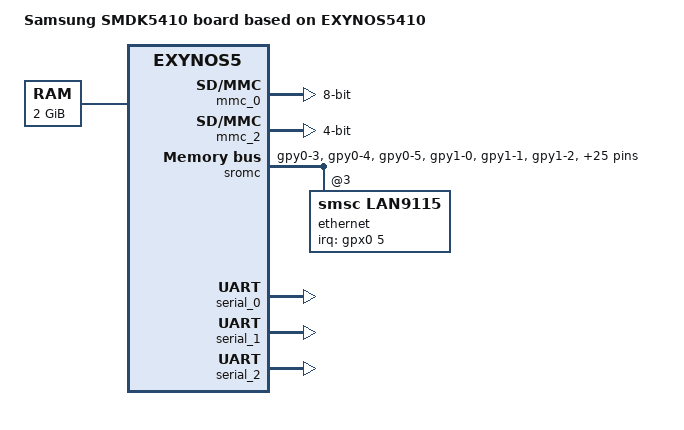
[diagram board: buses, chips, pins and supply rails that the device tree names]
// SPDX-License-Identifier: GPL-2.0
/*
 * SAMSUNG SMDK5410 board device tree source
 *
 * Copyright (c) 2013 Samsung Electronics Co., Ltd.
 *		http://www.samsung.com
 */

/dts-v1/;
#include "exynos5410.dtsi"
#include <dt-bindings/interrupt-controller/irq.h>
/ {
	model = "Samsung SMDK5410 board based on EXYNOS5410";
	compatible = "samsung,smdk5410", "samsung,exynos5410", "samsung,exynos5";

	memory@40000000 {
		device_type = "memory";
		reg = <0x40000000 0x80000000>;
	};

	chosen {
		bootargs = "console=ttySAC2,115200";
	};

	fin_pll: xxti {
		compatible = "fixed-clock";
		clock-frequency = <24000000>;
		clock-output-names = "fin_pll";
		#clock-cells = <0>;
	};

	firmware@2037000 {
		compatible = "samsung,secure-firmware";
		reg = <0x02037000 0x1000>;
	};

};

&mmc_0 {
	status = "okay";
	cap-mmc-highspeed;
	broken-cd;
	card-detect-delay = <200>;
	samsung,dw-mshc-ciu-div = <3>;
	samsung,dw-mshc-sdr-timing = <2 3>;
	samsung,dw-mshc-ddr-timing = <1 2>;
	bus-width = <8>;
};

&mmc_2 {
	status = "okay";
	cap-sd-highspeed;
	card-detect-delay = <200>;
	samsung,dw-mshc-ciu-div = <3>;
	samsung,dw-mshc-sdr-timing = <2 3>;
	samsung,dw-mshc-ddr-timing = <1 2>;
	bus-width = <4>;
	disable-wp;
};

&pinctrl_0 {
	srom_ctl: srom-ctl {
		samsung,pins = "gpy0-3", "gpy0-4", "gpy0-5",
			       "gpy1-0", "gpy1-1", "gpy1-2", "gpy1-3";
		samsung,pin-function = <EXYNOS_PIN_FUNC_2>;
		samsung,pin-drv = <EXYNOS5420_PIN_DRV_LV1>;
	};

	srom_ebi: srom-ebi {
		samsung,pins = "gpy3-0", "gpy3-1", "gpy3-2", "gpy3-3",
			       "gpy3-4", "gpy3-5", "gpy3-6", "gpy3-7",
			       "gpy5-0", "gpy5-1", "gpy5-2", "gpy5-3",
			       "gpy5-4", "gpy5-5", "gpy5-6", "gpy5-7",
			       "gpy6-0", "gpy6-1", "gpy6-2", "gpy6-3",
			       "gpy6-4", "gpy6-5", "gpy6-6", "gpy6-7";
		samsung,pin-function = <EXYNOS_PIN_FUNC_2>;
		samsung,pin-pud = <EXYNOS_PIN_PULL_UP>;
		samsung,pin-drv = <EXYNOS5420_PIN_DRV_LV1>;
	};
};

&sromc {
	pinctrl-names = "default";
	pinctrl-0 = <&srom_ctl>, <&srom_ebi>;

	ethernet@3,0 {
		compatible = "smsc,lan9115";
		reg = <3 0 0x10000>;
		phy-mode = "mii";
		interrupt-parent = <&gpx0>;
		interrupts = <5 IRQ_TYPE_LEVEL_LOW>;
		reg-io-width = <2>;
		smsc,irq-push-pull;
		smsc,force-internal-phy;

		samsung,srom-page-mode;
		samsung,srom-timing = <9 12 1 9 1 1>;
	};
};

&serial_0 {
	status = "okay";
};

&serial_1 {
	status = "okay";
};

&serial_2 {
	status = "okay";
};
